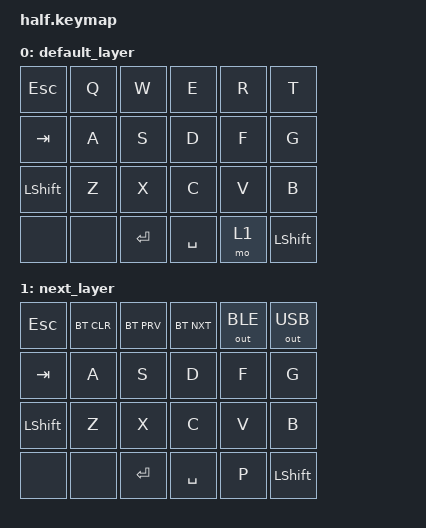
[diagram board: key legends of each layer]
#include <behaviors.dtsi>
#include <dt-bindings/zmk/keys.h>
#include <dt-bindings/zmk/bt.h>
#include <dt-bindings/zmk/outputs.h>

/ {
	keymap {
		compatible = "zmk,keymap";

		default_layer {
			
			bindings = <
				&kp ESC    &kp Q    &kp W    &kp E     &kp R     &kp T  
				&kp TAB    &kp A    &kp S    &kp D     &kp F     &kp G 
				&kp LSHIFT &kp Z    &kp X    &kp C     &kp V     &kp B 
				&none  &none   &kp RET    &kp SPACE &mo 1  &kp LSHIFT    
			>;

		};
			next_layer {
			
			bindings = <
				&kp ESC    &bt BT_CLR    &bt BT_PRV    &bt BT_NXT     &out OUT_BLE  &out OUT_USB  
				&kp TAB    &kp A    &kp S    &kp D     &kp F     &kp G 
				&kp LSHIFT &kp Z    &kp X    &kp C     &kp V     &kp B 
				&none  &none   &kp RET    &kp SPACE &kp P  &kp LSHIFT    
			>;

		};
//		layer {
//			
//			bindings = <
//				&bt BT_CLR_ALL    &bt BT_SEL 0    &bt BT_SEL 1    &kp E     &kp R     &kp T  
//				&kp TAB    &bt BT_CLR    &kp S    &kp D     &kp F     &kp G 
//				&kp LSHIFT &bt BT_DISC    &kp X    &kp C     &kp V     &kp B 
//				&none  &none   &kp RET    &kp SPACE &trans  &kp LSHIFT    
//			>;
//
//		};
	};
};
